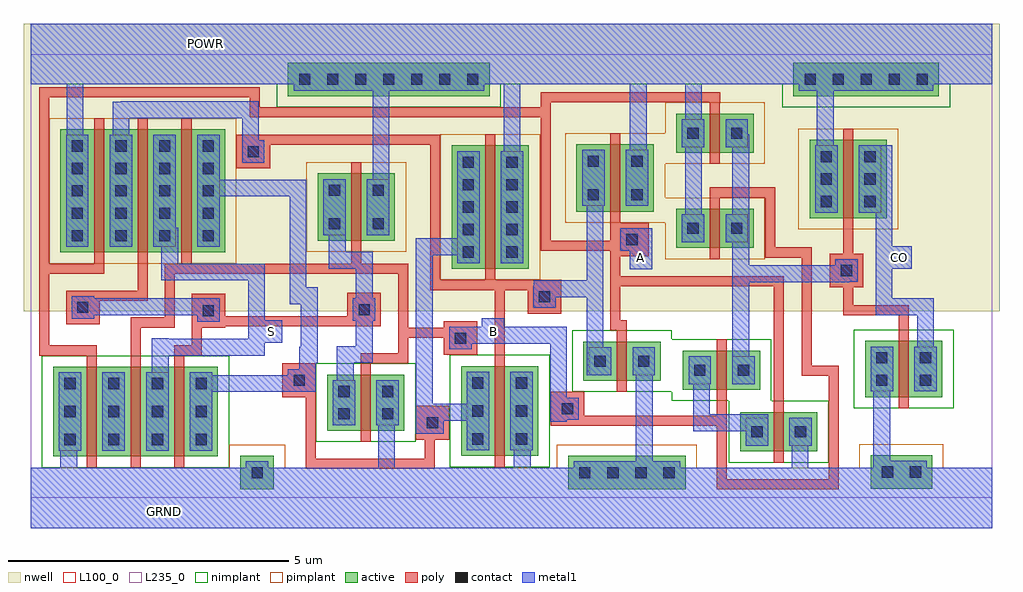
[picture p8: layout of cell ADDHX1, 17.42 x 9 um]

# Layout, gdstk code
import gdstk
lib = gdstk.Library(unit=1e-6, precision=1e-09)
def R(c, l, rs):  # rectangles x0, y0, x1, y1
    for r in rs: c.add(gdstk.rectangle(r[:2], r[2:], *l))
def A(c, l, x, y, w, h, nx, ny, dx, dy):  # array of equal rectangles
    R(c, l, [(x+i*dx, y+j*dy, x+i*dx+w, y+j*dy+h) for i in range(nx) for j in range(ny)])
active = (1, 0)
nwell = (2, 0)
poly = (3, 0)
nimplant = (4, 0)
pimplant = (5, 0)
contact = (6, 0)
metal1 = (7, 0)
L100_0 = (100, 0)
L235_0 = (235, 0)

addhx1 = lib.new_cell('ADDHX1')
A(addhx1, active, 1, 0.74, 0.18, 1.6, 3, 1, 0.78, 0)
A(addhx1, active, 1.13, 4.38, 0.18, 2.2, 3, 1, 0.78, 0)
R(addhx1, active, [(3.74,0.15,4.34,0.75), (9.59,0.15,11.69,0.75), (14.99,0.16,16.09,0.76), (0.4,0.74,1,2.34), (1.18,0.74,1.78,2.34), (1.18,0.74,1.78,2.34), (1.96,0.74,2.56,2.34), (1.96,0.74,2.56,2.34), (2.74,0.74,3.34,2.34), (7.68,0.75,8.28,2.35), (8.28,0.75,8.46,2.35), (8.46,0.75,9.06,2.35), (12.66,0.83,13.26,1.53), (13.26,0.83,13.44,1.53), (13.44,0.83,14.04,1.53), (5.29,1.2,5.89,2.2), (5.89,1.2,6.07,2.2), (6.07,1.2,6.67,2.2), (14.89,1.8,15.49,2.8), (15.49,1.8,15.67,2.8), (15.67,1.8,16.27,2.8), (11.64,1.93,12.24,2.63), (12.24,1.93,12.42,2.63), (12.42,1.93,13.02,2.63), (9.86,2.09,10.46,2.79), (10.46,2.09,10.64,2.79), (10.64,2.09,11.24,2.79), (7.51,4.09,8.11,6.29), (8.11,4.09,8.29,6.29), (8.29,4.09,8.89,6.29), (0.53,4.38,1.13,6.58), (1.31,4.38,1.91,6.58), (1.31,4.38,1.91,6.58), (2.09,4.38,2.69,6.58), (2.09,4.38,2.69,6.58), (2.87,4.38,3.47,6.58), (11.52,4.46,12.12,5.16), (12.12,4.46,12.3,5.16), (12.3,4.46,12.9,5.16), (5.12,4.59,5.72,5.79), (5.72,4.59,5.9,5.79), (5.9,4.59,6.5,5.79), (13.9,4.99,14.5,6.39), (14.5,4.99,14.68,6.39), (14.68,4.99,15.28,6.39), (9.74,5.11,10.34,6.31), (10.34,5.11,10.52,6.31), (10.52,5.11,11.12,6.31), (11.52,6.16,12.12,6.86), (12.12,6.16,12.3,6.86), (12.3,6.16,12.9,6.86), (4.59,7.17,8.19,7.77), (13.61,7.17,16.21,7.77)])
A(addhx1, nwell, 0.03, 3.88, 2.38, 3.2, 3, 1, 0.78, 0)
R(addhx1, nwell, [(-0.13,3.33,17.29,8.46), (7.01,3.59,9.39,6.79), (11.02,3.96,13.4,5.66), (4.62,4.09,7,6.29), (13.4,4.49,15.78,6.89), (9.24,4.61,11.62,6.81), (11.02,5.66,13.4,7.36)])
A(addhx1, poly, 1, 0.54, 0.18, 0.2, 3, 2, 0.78, 1.8)
A(addhx1, poly, 1, 0.54, 0.18, 2, 3, 1, 0.78, 0)
A(addhx1, poly, 1.13, 4.18, 0.18, 2.6, 3, 1, 0.78, 0)
A(addhx1, poly, 1.13, 4.18, 0.18, 0.2, 3, 2, 0.78, 2.4)
R(addhx1, poly, [(8.28,0.55,8.46,0.75), (8.28,0.55,8.46,2.55), (13.26,0.63,13.44,0.83), (13.26,0.63,13.44,1.73), (5.89,1,6.07,1.2), (5.89,1,6.07,2.4), (6.87,1.04,7.47,1.64), (9.28,1.29,9.88,1.89), (13.26,1.53,13.44,1.73), (15.49,1.6,15.67,1.8), (15.49,1.6,15.67,3), (12.24,1.73,12.42,1.93), (12.24,1.73,12.42,2.83), (4.49,1.8,5.09,2.4), (10.46,1.89,10.64,2.09), (10.46,1.89,10.64,2.99), (5.89,2.2,6.07,2.4), (8.28,2.35,8.46,2.55), (7.37,2.55,7.97,3.15), (12.24,2.63,12.42,2.83), (10.46,2.79,10.64,2.99), (15.49,2.8,15.67,3), (2.87,3.04,3.47,3.64), (5.65,3.06,6.25,3.66), (0.63,3.1,1.23,3.7), (8.87,3.29,9.47,3.89), (14.26,3.76,14.86,4.36), (8.11,3.89,8.29,6.49), (8.11,3.89,8.29,4.09), (12.12,4.26,12.3,4.46), (12.12,4.26,12.3,5.36), (10.43,4.31,11.03,4.91), (5.72,4.39,5.9,4.59), (5.72,4.39,5.9,5.99), (14.5,4.79,14.68,4.99), (14.5,4.79,14.68,6.59), (10.34,4.91,10.52,5.11), (10.34,4.91,10.52,6.51), (12.12,5.16,12.3,5.36), (5.72,5.79,5.9,5.99), (3.67,5.88,4.27,6.48), (12.12,5.96,12.3,6.16), (12.12,5.96,12.3,7.06), (8.11,6.29,8.29,6.49), (10.34,6.31,10.52,6.51), (14.5,6.39,14.68,6.59), (12.12,6.86,12.3,7.06)])
A(addhx1, nimplant, 0.2, 0.54, 1.78, 2, 3, 1, 0.78, 0)
R(addhx1, nimplant, [(7.48,0.55,9.26,2.55), (12.46,0.63,14.24,1.73), (5.09,1,6.87,2.4), (14.69,1.6,16.47,3), (11.44,1.73,13.22,2.83), (9.66,1.89,11.44,2.99), (4.39,6.97,8.39,7.97), (13.41,6.97,16.41,7.97), (0,7.38,17.16,8.46)])
A(addhx1, pimplant, 0.33, 4.18, 1.78, 2.6, 3, 1, 0.78, 0)
R(addhx1, pimplant, [(0,-0.54,17.16,0.54), (3.54,-0.05,4.54,0.95), (9.39,-0.05,11.89,0.95), (14.79,-0.04,16.29,0.96), (7.31,3.89,9.09,6.49), (11.32,4.26,13.1,5.36), (4.92,4.39,6.7,5.99), (13.7,4.79,15.48,6.59), (9.54,4.91,11.32,6.51), (11.32,5.96,13.1,7.06)])
A(addhx1, contact, 9.79, 0.35, 0.2, 0.2, 4, 1, 0.5, 0)
A(addhx1, contact, 0.6, 0.94, 0.2, 0.2, 1, 3, 0, 0.5)
A(addhx1, contact, 2.94, 0.94, 0.2, 0.2, 1, 3, 0, 0.5)
A(addhx1, contact, 7.88, 0.95, 0.2, 0.2, 1, 3, 0, 0.5)
A(addhx1, contact, 8.66, 0.95, 0.2, 0.2, 1, 3, 0, 0.5)
A(addhx1, contact, 7.71, 4.29, 0.2, 0.2, 1, 5, 0, 0.4)
A(addhx1, contact, 8.49, 4.29, 0.2, 0.2, 1, 5, 0, 0.4)
A(addhx1, contact, 0.73, 4.58, 0.2, 0.2, 1, 5, 0, 0.4)
A(addhx1, contact, 3.07, 4.58, 0.2, 0.2, 1, 5, 0, 0.4)
A(addhx1, contact, 14.1, 5.19, 0.2, 0.2, 1, 3, 0, 0.4)
A(addhx1, contact, 14.88, 5.19, 0.2, 0.2, 1, 3, 0, 0.4)
A(addhx1, contact, 4.79, 7.37, 0.2, 0.2, 7, 1, 0.5, 0)
A(addhx1, contact, 13.81, 7.37, 0.2, 0.2, 5, 1, 0.5, 0)
R(addhx1, contact, [(3.94,0.35,4.14,0.55), (15.19,0.36,15.39,0.56), (15.69,0.36,15.89,0.56), (1.38,0.94,1.58,1.14), (1.38,0.94,1.58,1.14), (2.16,0.94,2.36,1.14), (2.16,0.94,2.36,1.14), (12.86,1.08,13.06,1.28), (13.64,1.08,13.84,1.28), (7.07,1.24,7.27,1.44), (5.49,1.4,5.69,1.6), (6.27,1.4,6.47,1.6), (1.38,1.44,1.58,1.64), (1.38,1.44,1.58,1.64), (2.16,1.44,2.36,1.64), (2.16,1.44,2.36,1.64), (9.48,1.49,9.68,1.69), (5.49,1.8,5.69,2), (6.27,1.8,6.47,2), (1.38,1.94,1.58,2.14), (1.38,1.94,1.58,2.14), (2.16,1.94,2.36,2.14), (2.16,1.94,2.36,2.14), (4.69,2,4.89,2.2), (15.09,2,15.29,2.2), (15.87,2,16.07,2.2), (11.84,2.18,12.04,2.38), (12.62,2.18,12.82,2.38), (10.06,2.34,10.26,2.54), (10.84,2.34,11.04,2.54), (15.09,2.4,15.29,2.6), (15.87,2.4,16.07,2.6), (7.57,2.75,7.77,2.95), (3.07,3.24,3.27,3.44), (5.85,3.26,6.05,3.46), (0.83,3.3,1.03,3.5), (9.07,3.49,9.27,3.69), (14.46,3.96,14.66,4.16), (10.63,4.51,10.83,4.71), (1.51,4.58,1.71,4.78), (1.51,4.58,1.71,4.78), (2.29,4.58,2.49,4.78), (2.29,4.58,2.49,4.78), (11.72,4.71,11.92,4.91), (12.5,4.71,12.7,4.91), (5.32,4.79,5.52,4.99), (6.1,4.79,6.3,4.99), (1.51,4.98,1.71,5.18), (1.51,4.98,1.71,5.18), (2.29,4.98,2.49,5.18), (2.29,4.98,2.49,5.18), (9.94,5.31,10.14,5.51), (10.72,5.31,10.92,5.51), (1.51,5.38,1.71,5.58), (1.51,5.38,1.71,5.58), (2.29,5.38,2.49,5.58), (2.29,5.38,2.49,5.58), (5.32,5.39,5.52,5.59), (6.1,5.39,6.3,5.59), (1.51,5.78,1.71,5.98), (1.51,5.78,1.71,5.98), (2.29,5.78,2.49,5.98), (2.29,5.78,2.49,5.98), (9.94,5.91,10.14,6.11), (10.72,5.91,10.92,6.11), (3.87,6.08,4.07,6.28), (1.51,6.18,1.71,6.38), (1.51,6.18,1.71,6.38), (2.29,6.18,2.49,6.38), (2.29,6.18,2.49,6.38), (11.72,6.41,11.92,6.61), (12.5,6.41,12.7,6.61)])
R(addhx1, metal1, [(0,-0.54,17.16,0.54), (3.84,0.25,4.24,0.65), (9.69,0.25,11.59,0.65), (15.09,0.26,15.99,0.66), (6.97,1.14,7.37,1.54), (9.38,1.39,9.78,1.79), (4.59,1.9,4.99,2.3), (7.47,2.65,7.87,3.05), (4.14,2.82,4.44,3.12), (8.11,2.85,8.4,3.15), (2.97,3.14,3.37,3.54), (5.75,3.16,6.15,3.56), (0.73,3.2,1.13,3.6), (8.97,3.39,9.37,3.79), (14.36,3.86,14.76,4.26), (10.74,4.14,11.04,4.44), (15.36,4.14,15.66,4.43), (10.53,4.41,10.93,4.81), (3.77,5.98,4.17,6.38), (4.69,7.27,8.09,7.67), (13.71,7.27,16.11,7.67), (0,7.38,17.16,8.46)])
R(addhx1, L100_0, [(0.5,0.84,0.9,2.24), (1.28,0.84,1.68,2.24), (1.28,0.84,1.68,2.24), (2.06,0.84,2.46,2.24), (2.06,0.84,2.46,2.24), (2.84,0.84,3.24,2.24), (7.78,0.85,8.18,2.25), (8.56,0.85,8.96,2.25), (12.76,0.93,13.16,1.43), (13.54,0.93,13.94,1.43), (5.39,1.3,5.79,2.1), (6.17,1.3,6.57,2.1), (14.99,1.9,15.39,2.7), (15.77,1.9,16.17,2.7), (11.74,2.03,12.14,2.53), (12.52,2.03,12.92,2.53), (9.96,2.19,10.36,2.69), (10.74,2.19,11.14,2.69), (7.61,4.19,8.01,6.19), (8.39,4.19,8.79,6.19), (0.63,4.48,1.03,6.48), (1.41,4.48,1.81,6.48), (1.41,4.48,1.81,6.48), (2.19,4.48,2.59,6.48), (2.19,4.48,2.59,6.48), (2.97,4.48,3.37,6.48), (11.62,4.56,12.02,5.06), (12.4,4.56,12.8,5.06), (5.22,4.69,5.62,5.69), (6,4.69,6.4,5.69), (14,5.09,14.4,6.29), (14.78,5.09,15.18,6.29), (9.84,5.21,10.24,6.21), (10.62,5.21,11.02,6.21), (11.62,6.26,12.02,6.76), (12.4,6.26,12.8,6.76)])
R(addhx1, L235_0, [(0,0,17.16,7.92)])
addhx1.add(gdstk.FlexPath([(2.48,4.18),(2.48,3.13),(1.87,3.13),(1.87,2.53)], 0.18, ends="flush", simple_path=True, layer=3, datatype=0))  # poly
addhx1.add(gdstk.FlexPath([(15.58,2.99),(15.58,3.28)], 0.18, ends="flush", simple_path=True, layer=3, datatype=0))  # poly
addhx1.add(gdstk.FlexPath([(0.32,4.09),(1.31,4.09)], 0.18, ends="flush", simple_path=True, layer=3, datatype=0))  # poly
addhx1.add(gdstk.FlexPath([(15.67,3.35),(14.5,3.35)], 0.18, ends="flush", simple_path=True, layer=3, datatype=0))  # poly
addhx1.add(gdstk.FlexPath([(14.59,4.91),(14.59,3.3)], 0.18, ends="flush", simple_path=True, layer=3, datatype=0))  # poly
addhx1.add(gdstk.FlexPath([(14.33,2.36),(14.33,0.15)], 0.18, ends="flush", simple_path=True, layer=3, datatype=0))  # poly
addhx1.add(gdstk.FlexPath([(12.26,0.24),(14.42,0.24)], 0.18, ends="flush", simple_path=True, layer=3, datatype=0))  # poly
addhx1.add(gdstk.FlexPath([(13.2,4.38),(13.2,5.45)], 0.18, ends="flush", simple_path=True, layer=3, datatype=0))  # poly
addhx1.add(gdstk.FlexPath([(13.76,2.27),(14.37,2.27)], 0.18, ends="flush", simple_path=True, layer=3, datatype=0))  # poly
addhx1.add(gdstk.FlexPath([(13.11,4.38),(13.9,4.38)], 0.18, ends="flush", simple_path=True, layer=3, datatype=0))  # poly
addhx1.add(gdstk.FlexPath([(13.85,4.47),(13.85,2.21)], 0.18, ends="flush", simple_path=True, layer=3, datatype=0))  # poly
addhx1.add(gdstk.FlexPath([(13.35,1.63),(13.35,3.89)], 0.18, ends="flush", simple_path=True, layer=3, datatype=0))  # poly
addhx1.add(gdstk.FlexPath([(10.44,3.87),(13.44,3.87)], 0.18, ends="flush", simple_path=True, layer=3, datatype=0))  # poly
addhx1.add(gdstk.FlexPath([(12.33,2.32),(12.33,0.15)], 0.18, ends="flush", simple_path=True, layer=3, datatype=0))  # poly
addhx1.add(gdstk.FlexPath([(9.29,1.38),(12.27,1.38)], 0.18, ends="flush", simple_path=True, layer=3, datatype=0))  # poly
addhx1.add(gdstk.FlexPath([(9.19,7.24),(9.19,4.41)], 0.18, ends="flush", simple_path=True, layer=3, datatype=0))  # poly
addhx1.add(gdstk.FlexPath([(12.31,7.15),(9.1,7.15)], 0.18, ends="flush", simple_path=True, layer=3, datatype=0))  # poly
addhx1.add(gdstk.FlexPath([(12.12,5.45),(13.29,5.45)], 0.18, ends="flush", simple_path=True, layer=3, datatype=0))  # poly
addhx1.add(gdstk.FlexPath([(10.34,3.08),(10.64,3.08)], 0.18, ends="flush", simple_path=True, layer=3, datatype=0))  # poly
addhx1.add(gdstk.FlexPath([(2.96,3.08),(2.96,2.63),(2.56,2.63)], 0.18, ends="flush", simple_path=True, layer=3, datatype=0))  # poly
addhx1.add(gdstk.FlexPath([(1.18,2.63),(0.32,2.63)], 0.18, ends="flush", simple_path=True, layer=3, datatype=0))  # poly
addhx1.add(gdstk.FlexPath([(2,4.18),(2,3.61),(1.21,3.61)], 0.18, ends="flush", simple_path=True, layer=3, datatype=0))  # poly
addhx1.add(gdstk.FlexPath([(2.53,4.09),(6.56,4.09)], 0.18, ends="flush", simple_path=True, layer=3, datatype=0))  # poly
addhx1.add(gdstk.FlexPath([(3.46,3.15),(5.75,3.15)], 0.18, ends="flush", simple_path=True, layer=3, datatype=0))  # poly
addhx1.add(gdstk.FlexPath([(0.15,7.24),(4.08,7.24)], 0.18, ends="flush", simple_path=True, layer=3, datatype=0))  # poly
addhx1.add(gdstk.FlexPath([(3.91,6.88),(9.21,6.88)], 0.18, ends="flush", simple_path=True, layer=3, datatype=0))  # poly
addhx1.add(gdstk.FlexPath([(4.91,0.61),(7.21,0.61)], 0.18, ends="flush", simple_path=True, layer=3, datatype=0))  # poly
addhx1.add(gdstk.FlexPath([(4,6.91),(4,7.33)], 0.18, ends="flush", simple_path=True, layer=3, datatype=0))  # poly
addhx1.add(gdstk.FlexPath([(6.65,4.18),(6.65,2.4)], 0.18, ends="flush", simple_path=True, layer=3, datatype=0))  # poly
addhx1.add(gdstk.FlexPath([(3.87,6.39),(7.31,6.39)], 0.18, ends="flush", simple_path=True, layer=3, datatype=0))  # poly
addhx1.add(gdstk.FlexPath([(5.89,2.49),(6.56,2.49)], 0.18, ends="flush", simple_path=True, layer=3, datatype=0))  # poly
addhx1.add(gdstk.FlexPath([(5.81,4.48),(5.81,4.09)], 0.18, ends="flush", simple_path=True, layer=3, datatype=0))  # poly
addhx1.add(gdstk.FlexPath([(10.43,5.03),(10.43,2.99)], 0.18, ends="flush", simple_path=True, layer=3, datatype=0))  # poly
addhx1.add(gdstk.FlexPath([(5,2.28),(5,0.56)], 0.18, ends="flush", simple_path=True, layer=3, datatype=0))  # poly
addhx1.add(gdstk.FlexPath([(8.87,3.8),(7.13,3.8)], 0.18, ends="flush", simple_path=True, layer=3, datatype=0))  # poly
addhx1.add(gdstk.FlexPath([(7.12,1.41),(7.12,0.64)], 0.18, ends="flush", simple_path=True, layer=3, datatype=0))  # poly
addhx1.add(gdstk.FlexPath([(8.37,2.55),(8.37,3.89)], 0.18, ends="flush", simple_path=True, layer=3, datatype=0))  # poly
addhx1.add(gdstk.FlexPath([(7.22,6.47),(7.22,3.73)], 0.18, ends="flush", simple_path=True, layer=3, datatype=0))  # poly
addhx1.add(gdstk.FlexPath([(6.72,2.95),(7.76,2.95)], 0.18, ends="flush", simple_path=True, layer=3, datatype=0))  # poly
addhx1.add(gdstk.FlexPath([(10.43,4.5),(9.18,4.5)], 0.18, ends="flush", simple_path=True, layer=3, datatype=0))  # poly
addhx1.add(gdstk.FlexPath([(0.24,7.24),(0.24,2.54)], 0.18, ends="flush", simple_path=True, layer=3, datatype=0))  # poly
addhx1.add(gdstk.FlexPath([(0.83,4.48),(0.83,6.48)], 0.4, ends="flush", simple_path=True, layer=7, datatype=0))  # metal1
addhx1.add(gdstk.FlexPath([(1.61,4.48),(1.61,6.48)], 0.4, ends="flush", simple_path=True, layer=7, datatype=0))  # metal1
addhx1.add(gdstk.FlexPath([(7.81,4.19),(7.81,6.19)], 0.4, ends="flush", simple_path=True, layer=7, datatype=0))  # metal1
addhx1.add(gdstk.FlexPath([(8.59,4.19),(8.59,6.19)], 0.4, ends="flush", simple_path=True, layer=7, datatype=0))  # metal1
addhx1.add(gdstk.FlexPath([(1.61,4.48),(1.61,6.48)], 0.4, ends="flush", simple_path=True, layer=7, datatype=0))  # metal1
addhx1.add(gdstk.FlexPath([(2.39,4.48),(2.39,6.48)], 0.4, ends="flush", simple_path=True, layer=7, datatype=0))  # metal1
addhx1.add(gdstk.FlexPath([(2.39,4.48),(2.39,6.48)], 0.4, ends="flush", simple_path=True, layer=7, datatype=0))  # metal1
addhx1.add(gdstk.FlexPath([(3.17,4.48),(3.17,6.48)], 0.4, ends="flush", simple_path=True, layer=7, datatype=0))  # metal1
addhx1.add(gdstk.FlexPath([(10.04,5.21),(10.04,6.21)], 0.4, ends="flush", simple_path=True, layer=7, datatype=0))  # metal1
addhx1.add(gdstk.FlexPath([(10.82,5.21),(10.82,6.21)], 0.4, ends="flush", simple_path=True, layer=7, datatype=0))  # metal1
addhx1.add(gdstk.FlexPath([(5.42,4.69),(5.42,5.69)], 0.4, ends="flush", simple_path=True, layer=7, datatype=0))  # metal1
addhx1.add(gdstk.FlexPath([(6.2,4.69),(6.2,5.69)], 0.4, ends="flush", simple_path=True, layer=7, datatype=0))  # metal1
addhx1.add(gdstk.FlexPath([(11.82,6.26),(11.82,6.76)], 0.4, ends="flush", simple_path=True, layer=7, datatype=0))  # metal1
addhx1.add(gdstk.FlexPath([(12.6,6.26),(12.6,6.76)], 0.4, ends="flush", simple_path=True, layer=7, datatype=0))  # metal1
addhx1.add(gdstk.FlexPath([(11.82,4.56),(11.82,5.06)], 0.4, ends="flush", simple_path=True, layer=7, datatype=0))  # metal1
addhx1.add(gdstk.FlexPath([(12.6,4.56),(12.6,5.06)], 0.4, ends="flush", simple_path=True, layer=7, datatype=0))  # metal1
addhx1.add(gdstk.FlexPath([(14.2,5.09),(14.2,6.29)], 0.4, ends="flush", simple_path=True, layer=7, datatype=0))  # metal1
addhx1.add(gdstk.FlexPath([(14.98,5.09),(14.98,6.29)], 0.4, ends="flush", simple_path=True, layer=7, datatype=0))  # metal1
addhx1.add(gdstk.FlexPath([(1.48,0.84),(1.48,2.24)], 0.4, ends="flush", simple_path=True, layer=7, datatype=0))  # metal1
addhx1.add(gdstk.FlexPath([(2.26,0.84),(2.26,2.24)], 0.4, ends="flush", simple_path=True, layer=7, datatype=0))  # metal1
addhx1.add(gdstk.FlexPath([(0.7,0.84),(0.7,2.24)], 0.4, ends="flush", simple_path=True, layer=7, datatype=0))  # metal1
addhx1.add(gdstk.FlexPath([(1.48,0.84),(1.48,2.24)], 0.4, ends="flush", simple_path=True, layer=7, datatype=0))  # metal1
addhx1.add(gdstk.FlexPath([(7.98,0.85),(7.98,2.25)], 0.4, ends="flush", simple_path=True, layer=7, datatype=0))  # metal1
addhx1.add(gdstk.FlexPath([(8.76,0.85),(8.76,2.25)], 0.4, ends="flush", simple_path=True, layer=7, datatype=0))  # metal1
addhx1.add(gdstk.FlexPath([(2.26,0.84),(2.26,2.24)], 0.4, ends="flush", simple_path=True, layer=7, datatype=0))  # metal1
addhx1.add(gdstk.FlexPath([(3.04,0.84),(3.04,2.24)], 0.4, ends="flush", simple_path=True, layer=7, datatype=0))  # metal1
addhx1.add(gdstk.FlexPath([(5.59,1.3),(5.59,2.1)], 0.4, ends="flush", simple_path=True, layer=7, datatype=0))  # metal1
addhx1.add(gdstk.FlexPath([(6.37,1.3),(6.37,2.1)], 0.4, ends="flush", simple_path=True, layer=7, datatype=0))  # metal1
addhx1.add(gdstk.FlexPath([(11.94,2.03),(11.94,2.53)], 0.4, ends="flush", simple_path=True, layer=7, datatype=0))  # metal1
addhx1.add(gdstk.FlexPath([(12.72,2.03),(12.72,2.53)], 0.4, ends="flush", simple_path=True, layer=7, datatype=0))  # metal1
addhx1.add(gdstk.FlexPath([(12.96,0.93),(12.96,1.43)], 0.4, ends="flush", simple_path=True, layer=7, datatype=0))  # metal1
addhx1.add(gdstk.FlexPath([(13.74,0.93),(13.74,1.43)], 0.4, ends="flush", simple_path=True, layer=7, datatype=0))  # metal1
addhx1.add(gdstk.FlexPath([(15.38,4.29),(15.72,4.29)], 0.4, ends="flush", simple_path=True, layer=7, datatype=0))  # metal1
addhx1.add(gdstk.FlexPath([(8.25,2.85),(8.25,3.21)], 0.4, ends="flush", simple_path=True, layer=7, datatype=0))  # metal1
addhx1.add(gdstk.FlexPath([(12.67,4),(14.61,4)], 0.3, ends="flush", simple_path=True, layer=7, datatype=0))  # metal1
addhx1.add(gdstk.FlexPath([(15.97,2.66),(15.97,3.56)], 0.3, ends="flush", simple_path=True, layer=7, datatype=0))  # metal1
addhx1.add(gdstk.FlexPath([(15.08,3.41),(16.07,3.41)], 0.3, ends="flush", simple_path=True, layer=7, datatype=0))  # metal1
addhx1.add(gdstk.FlexPath([(15.23,6.29),(15.23,3.26)], 0.3, ends="flush", simple_path=True, layer=7, datatype=0))  # metal1
addhx1.add(gdstk.FlexPath([(10.52,4.61),(10.89,4.61),(10.89,4.08)], 0.4, ends="flush", simple_path=True, layer=7, datatype=0))  # metal1
addhx1.add(gdstk.FlexPath([(10.84,5.71),(10.84,8.05)], 0.3, ends="flush", simple_path=True, layer=7, datatype=0))  # metal1
addhx1.add(gdstk.FlexPath([(13.16,1.34),(11.82,1.34)], 0.3, ends="flush", simple_path=True, layer=7, datatype=0))  # metal1
addhx1.add(gdstk.FlexPath([(14.18,5.89),(14.18,8.03)], 0.3, ends="flush", simple_path=True, layer=7, datatype=0))  # metal1
addhx1.add(gdstk.FlexPath([(15.19,2.49),(15.19,0.26)], 0.3, ends="flush", simple_path=True, layer=7, datatype=0))  # metal1
addhx1.add(gdstk.FlexPath([(11.83,7.74),(11.83,4.71)], 0.3, ends="flush", simple_path=True, layer=7, datatype=0))  # metal1
addhx1.add(gdstk.FlexPath([(13.73,1.05),(13.73,0.09)], 0.3, ends="flush", simple_path=True, layer=7, datatype=0))  # metal1
addhx1.add(gdstk.FlexPath([(11.97,2.43),(11.97,1.42)], 0.3, ends="flush", simple_path=True, layer=7, datatype=0))  # metal1
addhx1.add(gdstk.FlexPath([(8.98,3.73),(10.14,3.73)], 0.3, ends="flush", simple_path=True, layer=7, datatype=0))  # metal1
addhx1.add(gdstk.FlexPath([(10.95,2.49),(10.95,0.04)], 0.3, ends="flush", simple_path=True, layer=7, datatype=0))  # metal1
addhx1.add(gdstk.FlexPath([(0.68,1.41),(0.68,0.03)], 0.3, ends="flush", simple_path=True, layer=7, datatype=0))  # metal1
addhx1.add(gdstk.FlexPath([(2.16,2.69),(4.18,2.69)], 0.3, ends="flush", simple_path=True, layer=7, datatype=0))  # metal1
addhx1.add(gdstk.FlexPath([(2.31,1.99),(2.31,2.85)], 0.3, ends="flush", simple_path=True, layer=7, datatype=0))  # metal1
addhx1.add(gdstk.FlexPath([(2.48,4.82),(2.48,3.99)], 0.3, ends="flush", simple_path=True, layer=7, datatype=0))  # metal1
addhx1.add(gdstk.FlexPath([(0.79,6.18),(0.79,8.05)], 0.3, ends="flush", simple_path=True, layer=7, datatype=0))  # metal1
addhx1.add(gdstk.FlexPath([(4.14,2.97),(4.49,2.97)], 0.4, ends="flush", simple_path=True, layer=7, datatype=0))  # metal1
addhx1.add(gdstk.FlexPath([(10.16,2.19),(10.16,2.69)], 0.4, ends="flush", simple_path=True, layer=7, datatype=0))  # metal1
addhx1.add(gdstk.FlexPath([(10.94,2.19),(10.94,2.69)], 0.4, ends="flush", simple_path=True, layer=7, datatype=0))  # metal1
addhx1.add(gdstk.FlexPath([(6.35,1.61),(6.35,0.03)], 0.3, ends="flush", simple_path=True, layer=7, datatype=0))  # metal1
addhx1.add(gdstk.FlexPath([(4.03,4.18),(4.03,2.73)], 0.3, ends="flush", simple_path=True, layer=7, datatype=0))  # metal1
addhx1.add(gdstk.FlexPath([(4.94,1.89),(4.94,2.55),(4.97,2.55),(4.97,3.61),(4.77,3.61),(4.77,5.38)], 0.3, ends="flush", simple_path=True, layer=7, datatype=0))  # metal1
addhx1.add(gdstk.FlexPath([(3.21,2.04),(4.93,2.04)], 0.3, ends="flush", simple_path=True, layer=7, datatype=0))  # metal1
addhx1.add(gdstk.FlexPath([(3.18,5.53),(4.92,5.53)], 0.3, ends="flush", simple_path=True, layer=7, datatype=0))  # metal1
addhx1.add(gdstk.FlexPath([(5.61,2.09),(5.61,2.56),(5.95,2.56),(5.95,4.24),(5.47,4.24),(5.47,4.69)], 0.3, ends="flush", simple_path=True, layer=7, datatype=0))  # metal1
addhx1.add(gdstk.FlexPath([(6.25,5.69),(6.25,7.84)], 0.3, ends="flush", simple_path=True, layer=7, datatype=0))  # metal1
addhx1.add(gdstk.FlexPath([(3.92,6.29),(3.92,7.08)], 0.3, ends="flush", simple_path=True, layer=7, datatype=0))  # metal1
addhx1.add(gdstk.FlexPath([(7.5,2.9),(9.57,2.9)], 0.3, ends="flush", simple_path=True, layer=7, datatype=0))  # metal1
addhx1.add(gdstk.FlexPath([(8.77,1.22),(8.77,0.02)], 0.3, ends="flush", simple_path=True, layer=7, datatype=0))  # metal1
addhx1.add(gdstk.FlexPath([(12.67,6.49),(12.67,2.42)], 0.3, ends="flush", simple_path=True, layer=7, datatype=0))  # metal1
addhx1.add(gdstk.FlexPath([(6.97,1.53),(8.07,1.53)], 0.3, ends="flush", simple_path=True, layer=7, datatype=0))  # metal1
addhx1.add(gdstk.FlexPath([(1.61,6.93),(4.07,6.93)], 0.3, ends="flush", simple_path=True, layer=7, datatype=0))  # metal1
addhx1.add(gdstk.FlexPath([(7.02,4.63),(7.02,1.14)], 0.3, ends="flush", simple_path=True, layer=7, datatype=0))  # metal1
addhx1.add(gdstk.FlexPath([(15.19,1.9),(15.19,2.7)], 0.4, ends="flush", simple_path=True, layer=7, datatype=0))  # metal1
addhx1.add(gdstk.FlexPath([(15.97,1.9),(15.97,2.7)], 0.4, ends="flush", simple_path=True, layer=7, datatype=0))  # metal1
addhx1.add(gdstk.FlexPath([(8.01,4.48),(6.89,4.48)], 0.3, ends="flush", simple_path=True, layer=7, datatype=0))  # metal1
addhx1.add(gdstk.FlexPath([(1.05,3.41),(3.37,3.41)], 0.3, ends="flush", simple_path=True, layer=7, datatype=0))  # metal1
addhx1.add(gdstk.FlexPath([(1.61,6.4),(1.61,7.07)], 0.3, ends="flush", simple_path=True, layer=7, datatype=0))  # metal1
addhx1.add(gdstk.FlexPath([(2.33,4.03),(4.18,4.03)], 0.3, ends="flush", simple_path=True, layer=7, datatype=0))  # metal1
addhx1.add(gdstk.FlexPath([(8.59,5.88),(8.59,7.85)], 0.3, ends="flush", simple_path=True, layer=7, datatype=0))  # metal1
addhx1.add(gdstk.FlexPath([(9.42,1.36),(9.42,2.87)], 0.3, ends="flush", simple_path=True, layer=7, datatype=0))  # metal1
addhx1.add(gdstk.FlexPath([(10.07,2.19),(10.07,5.29)], 0.3, ends="flush", simple_path=True, layer=7, datatype=0))  # metal1
addhx1.add(gdstk.Label('S', (4.29,2.97), layer=230, texttype=0))
addhx1.add(gdstk.Label('B', (8.25,2.97), layer=230, texttype=0))
addhx1.add(gdstk.Label('CO', (15.51,4.29), layer=230, texttype=0))
addhx1.add(gdstk.Label('A', (10.89,4.29), layer=230, texttype=0))
addhx1.add(gdstk.Label('POWR', (3.11,8.11), layer=230, texttype=0))
addhx1.add(gdstk.Label('GRND', (2.38,-0.25), layer=230, texttype=0))

lib.write_gds('ADDHX1.gds')
